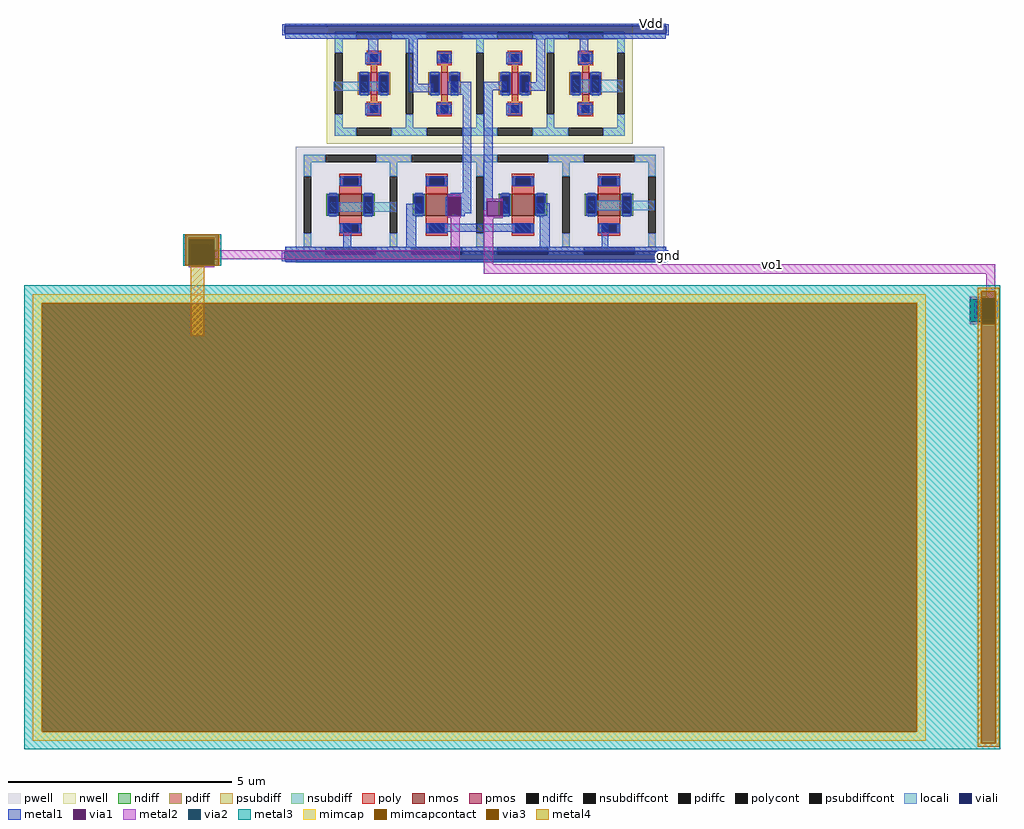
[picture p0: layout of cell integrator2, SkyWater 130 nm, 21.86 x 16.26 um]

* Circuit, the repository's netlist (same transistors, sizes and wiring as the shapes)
* SPICE3 file created from integrator2.ext - technology: sky130A

X0 m1_1996_2618# m1_3096_3514# Vdd Vdd sky130_fd_pr__pfet_01v8 ad=0.145 pd=1.58 as=0.145 ps=1.58 w=0.5 l=0.15
X1 m1_1996_2618# m1_3062_2760# gnd gnd sky130_fd_pr__nfet_01v8 ad=0.145 pd=1.58 as=0.145 ps=1.58 w=0.5 l=0.5
X2 gnd m1_3062_2760# vo1 gnd sky130_fd_pr__nfet_01v8 ad=0.87 pd=9.48 as=0.145 ps=1.58 w=0.5 l=0.5
X3 Vdd m1_3408_3282# vo1 Vdd sky130_fd_pr__pfet_01v8 ad=0.87 pd=9.48 as=0.145 ps=1.58 w=0.5 l=0.15
X4 gnd gnd gnd gnd sky130_fd_pr__nfet_01v8 ad=0 pd=0 as=0 ps=0 w=0.5 l=0.5
X5 gnd gnd gnd gnd sky130_fd_pr__nfet_01v8 ad=0 pd=0 as=0 ps=0 w=0.5 l=0.5
X6 Vdd Vdd Vdd Vdd sky130_fd_pr__pfet_01v8 ad=0 pd=0 as=0 ps=0 w=0.5 l=0.15
X7 Vdd Vdd Vdd Vdd sky130_fd_pr__pfet_01v8 ad=0 pd=0 as=0 ps=0 w=0.5 l=0.15
X8 m1_1996_2618# vo1 sky130_fd_pr__cap_mim_m3_1 l=10 w=20

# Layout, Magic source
magic
tech sky130A
magscale 1 2
<< locali >>
rect 2418 3684 4121 3693
rect 2418 3625 4121 3647
rect 2634 3392 2871 3433
rect 3701 3385 3929 3440
rect 2609 2849 2915 2893
rect 3766 2856 4072 2900
rect 2420 2672 4123 2692
rect 4122 2635 4123 2672
rect 2420 2624 4123 2635
<< viali >>
rect 2415 3647 4123 3684
rect 2414 2635 4122 2672
<< metal1 >>
rect 2418 3690 4121 3693
rect 2403 3684 4135 3690
rect 2403 3647 2415 3684
rect 4123 3647 4135 3684
rect 2403 3641 4135 3647
rect 2418 3625 4121 3641
rect 2790 3563 2834 3625
rect 2775 3510 2839 3563
rect 2971 3423 3010 3625
rect 3096 3514 3160 3567
rect 3407 3511 3471 3564
rect 2971 3384 3080 3423
rect 3146 3374 3250 3432
rect 2776 3282 2840 3335
rect 3094 3286 3158 3339
rect 3212 2934 3250 3374
rect 3182 2919 3250 2934
rect 3148 2918 3250 2919
rect 2960 2841 3027 2886
rect 1996 2618 2006 2700
rect 2080 2618 2090 2700
rect 2678 2693 2713 2794
rect 2960 2693 3005 2841
rect 3136 2832 3146 2918
rect 3204 2844 3250 2918
rect 3307 3393 3410 3432
rect 3542 3430 3581 3625
rect 3737 3566 3775 3625
rect 3728 3513 3792 3566
rect 3737 3509 3775 3513
rect 3307 2897 3346 3393
rect 3494 3391 3581 3430
rect 3408 3282 3472 3335
rect 3725 3284 3789 3337
rect 3307 2844 3319 2897
rect 3204 2832 3222 2844
rect 3148 2830 3222 2832
rect 3309 2830 3319 2844
rect 3392 2883 3402 2897
rect 3392 2844 3414 2883
rect 3546 2844 3601 2888
rect 3392 2830 3402 2844
rect 3062 2760 3516 2797
rect 3557 2693 3601 2844
rect 3834 2693 3864 2799
rect 2418 2678 4121 2693
rect 2402 2672 4134 2678
rect 2402 2635 2414 2672
rect 4122 2635 4134 2672
rect 2402 2629 4134 2635
rect 2418 2625 4121 2629
rect 5504 2372 5514 2448
rect 5598 2372 5608 2448
<< via1 >>
rect 2006 2618 2080 2700
rect 3146 2832 3204 2918
rect 3319 2830 3392 2897
rect 5514 2372 5598 2448
<< metal2 >>
rect 3146 2918 3204 2928
rect 3319 2897 3392 2907
rect 3146 2822 3204 2832
rect 3307 2830 3319 2857
rect 1986 2724 2100 2734
rect 3158 2678 3198 2822
rect 2100 2638 3198 2678
rect 3307 2820 3392 2830
rect 1986 2602 2100 2612
rect 3307 2614 3348 2820
rect 3307 2573 5598 2614
rect 5557 2468 5598 2573
rect 5484 2458 5600 2468
rect 5484 2346 5600 2356
<< via2 >>
rect 1986 2700 2100 2724
rect 1986 2618 2006 2700
rect 2006 2618 2080 2700
rect 2080 2618 2100 2700
rect 1986 2612 2100 2618
rect 5484 2448 5600 2458
rect 5484 2372 5514 2448
rect 5514 2372 5598 2448
rect 5598 2372 5600 2448
rect 5484 2356 5600 2372
<< metal3 >>
rect 1960 2608 1970 2748
rect 2120 2608 2130 2748
rect 1976 2607 2110 2608
rect 5474 2458 5610 2463
rect 5474 2356 5484 2458
rect 5600 2356 5610 2458
rect 5474 2351 5610 2356
<< via3 >>
rect 1970 2724 2120 2748
rect 1970 2612 1986 2724
rect 1986 2612 2100 2724
rect 2100 2612 2120 2724
rect 1970 2608 2120 2612
<< metal4 >>
rect 1969 2748 2121 2749
rect 1969 2608 1970 2748
rect 2120 2608 2121 2748
rect 1969 2607 2121 2608
rect 1994 2294 2054 2607
use sky130_fd_pr__cap_mim_m3_1_TNHPNJ  XC3
transform 1 0 3433 0 1 1481
box -2186 -1040 2186 1040
use sky130_fd_pr__nfet_01v8_SMGLWN  XM1
transform 1 0 3096 0 1 2881
box -246 -260 246 260
use sky130_fd_pr__nfet_01v8_SMGLWN  XM2
transform 1 0 3482 0 1 2881
box -246 -260 246 260
use sky130_fd_pr__pfet_01v8_XJ7GBL  XM3
transform 1 0 3447 0 1 3424
box -211 -269 211 269
use sky130_fd_pr__nfet_01v8_SMGLWN  XM4
transform 1 0 2710 0 1 2881
box -246 -260 246 260
use sky130_fd_pr__nfet_01v8_SMGLWN  XM5
transform 1 0 3868 0 1 2881
box -246 -260 246 260
use sky130_fd_pr__pfet_01v8_XJ7GBL  XM6
transform 1 0 2815 0 1 3424
box -211 -269 211 269
use sky130_fd_pr__pfet_01v8_XJ7GBL  XM7
transform 1 0 3763 0 1 3424
box -211 -269 211 269
use sky130_fd_pr__pfet_01v8_XJ7GBL  XM18
transform 1 0 3131 0 1 3424
box -211 -269 211 269
<< labels >>
rlabel metal2 4602 2614 4602 2614 1 vo1
rlabel metal1 4056 3693 4056 3693 1 Vdd
rlabel metal1 4134 2653 4134 2653 3 gnd
<< end >>

# cell sky130_fd_pr__cap_mim_m3_1_TNHPNJ: kit device sky130_fd_pr__cap_mim_m3_1, w 20.0 l 10.0 val 411.4 carea 2.00 cperi 0.19 nx 1 ny 1 dummy 0 square 0 lmin 2.00 wmin 2.00 lmax 30.0 wmax 30.0 dc 0 bconnect 1 tconnect 1 ccov 100

# cell sky130_fd_pr__nfet_01v8_SMGLWN: kit device sky130_fd_pr__nfet_01v8, w 0.5 l 0.5 m 1 nf 1 diffcov 100 polycov 100 guard 1 glc 1 grc 1 gtc 1 gbc 1 tbcov 100 rlcov 100 topc 1 botc 1 poverlap 0 doverlap 1 lmin 0.15 wmin 0.42 compatible {sky130_fd_pr__nfet_01v8 sky130_fd_pr__nfet_01v8_lvt sky130_fd_bs_flash__special_sonosfet_star sky130_fd_pr__nfet_g5v0d10v5 sky130_fd_pr__nfet_05v0_nvt sky130_fd_pr__nfet_03v3_nvt} full_metal 1 viasrc 100 viadrn 100 viagate 100 viagb 0 viagr 0 viagl 0 viagt 0

# cell sky130_fd_pr__pfet_01v8_XJ7GBL: kit device sky130_fd_pr__pfet_01v8, w 0.5 l 0.15 m 1 nf 1 diffcov 100 polycov 100 guard 1 glc 1 grc 1 gtc 1 gbc 1 tbcov 100 rlcov 100 topc 1 botc 1 poverlap 0 doverlap 1 lmin 0.15 wmin 0.42 compatible {sky130_fd_pr__pfet_01v8 sky130_fd_pr__pfet_01v8_lvt sky130_fd_pr__pfet_01v8_hvt sky130_fd_pr__pfet_g5v0d10v5} full_metal 1 viasrc 100 viadrn 100 viagate 100 viagb 0 viagr 0 viagl 0 viagt 0
